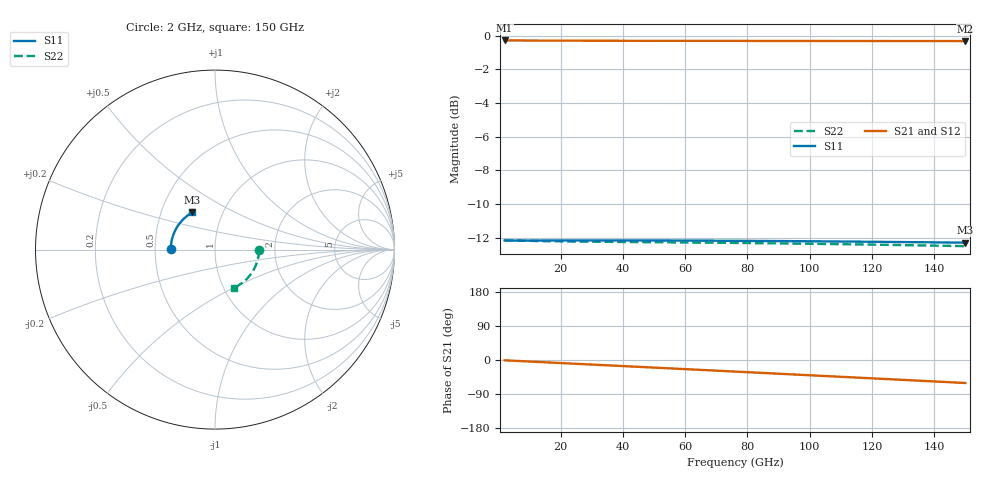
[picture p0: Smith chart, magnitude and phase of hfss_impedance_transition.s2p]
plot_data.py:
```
import numpy as np
import matplotlib.pyplot as plt
import skrf as rf

def S2T(S):
    T = S.copy()
    T[0,0] = -(S[0,0]*S[1,1]-S[0,1]*S[1,0])
    T[0,1] = S[0,0]
    T[1,0] = -S[1,1]
    T[1,1] = 1
    
    return T/S[1,0]

def T2S(T):
    S = T.copy()
    S[0,0] = T[0,1]
    S[0,1] = T[0,0]*T[1,1]-T[0,1]*T[1,0]
    S[1,0] = 1
    S[1,1] = -T[1,0]
    
    return S/T[1,1]

if __name__=='__main__':
    
    ntwk = rf.Network('hfss_impedance_transition.s2p')
    gamma1 = ntwk.gamma[:,0]
    gamma2 = ntwk.gamma[:,1]
    f = ntwk.frequency.f
    
    T     = np.array([S2T(x) for x in ntwk.s])
    Tnorm = np.array([x/x[-1,-1] for x in T])
    
    g11 = np.array([x[0,0] for x in Tnorm])
    g21 = np.array([x[1,0] for x in Tnorm])
    g12 = np.array([x[0,1] for x in Tnorm])
    
    d1  = 0.103e-3
    d2  = 0.103e-3
    
    exp1 = np.exp(2*gamma1*d1)
    exp2 = np.exp(2*gamma2*d2)
    g11_ = g11*exp1*exp2
    g21_ = g21*exp2
    g12_ = g12*exp1

    # model 1: Y-Z
    G1 = ( (g11_ + g21_ + g12_ + 1)**2 - 4*(g11_ - g21_*g12_) )/( (g11_ + g21_ + g12_ + 1)**2 + 4*(g11_ - g21_*g12_) )
    # model 2: Z-Y
    G2 = -( (g11_ - g21_ - g12_ + 1)**2 - 4*(g11_ - g21_*g12_) )/( (g11_ - g21_ - g12_ + 1)**2 + 4*(g11_ - g21_*g12_) )
    # model 3: symmetric
    G3 = ( g21_ + g12_ )/( g11_ + 1 )
    
    # offset error versions
    exp1 = np.exp(2*gamma1*(d1+0.0e-3))
    exp2 = np.exp(2*gamma2*(d2+0.03e-3))
    g11_ = g11*exp1*exp2
    g21_ = g21*exp2
    g12_ = g12*exp1
    
    # model 1: Y-Z
    G1_off = ( (g11_ + g21_ + g12_ + 1)**2 - 4*(g11_ - g21_*g12_) )/( (g11_ + g21_ + g12_ + 1)**2 + 4*(g11_ - g21_*g12_) )
    # model 2: Z-Y
    G2_off = -( (g11_ - g21_ - g12_ + 1)**2 - 4*(g11_ - g21_*g12_) )/( (g11_ - g21_ - g12_ + 1)**2 + 4*(g11_ - g21_*g12_) )
    # model 3: symmetric
    G3_off = ( g21_ + g12_ )/( g11_ + 1 )
    '''
    fig, ax = plt.subplots(1,1, figsize=(5.5, 5.5/1.5))
    fig.set_dpi(600)
    fig.tight_layout(pad=1.2)
    '''
    # GG = (ntwk.z0[:,1] - ntwk.z0[:,0])/(ntwk.z0[:,1] + ntwk.z0[:,0])
    
    fig, axs = plt.subplots(1,2, figsize=(5.5, 5.5/2))
    fig.set_dpi(600)
    fig.tight_layout(pad=1.5)
    ax = axs[0]
    ax.plot(f*1e-9, abs((g21_+g12_)/2), '>-', lw=2, label='Without Modeling', markevery=10, markersize=10)
    ax.plot(f*1e-9, abs(G1), 'v-', lw=2, label='Model 1', markevery=10, markersize=10)
    ax.plot(f*1e-9, abs(G2), '>-', lw=2, label='Model 2', markevery=10, markersize=10)
    ax.plot(f*1e-9, abs(G3), '<-', lw=2, label='Model 3', markevery=10, markersize=10)
    ax.plot(f*1e-9, abs(G1_off), 'h--', lw=2, markevery=10, markersize=8,
             label='Model 1 with +30um offset')
    ax.plot(f*1e-9, abs(G2_off), 'o--', lw=2, markevery=10, markersize=8,
             label='Model 2 with +30um offset')
    ax.plot(f*1e-9, abs(G3_off), 'X--', lw=2, markevery=10, markersize=8,
             label='Model 3 with +30um offset')
    ax.set_xlabel('Frequency (GHz)')
    ax.set_ylabel('Reflection (mag)')
    ax.set_yticks(np.arange(0.18,0.31,0.02))
    ax.set_ylim([0.2, 0.26])
    ax.set_xlim([0, 150])
    ax.set_xticks(np.arange(6)*30)
    
    ax = axs[1]
    ax.plot(f*1e-9, np.unwrap(np.angle((g21_+g12_)/2) + 2*np.pi)/np.pi, '>-', lw=2, label='Without Modeling', markevery=10, markersize=10)
    ax.plot(f*1e-9, np.unwrap(np.angle(G1))/np.pi, 'v-', lw=2, label='Model 1', markevery=10, markersize=10)
    ax.plot(f*1e-9, np.unwrap(np.angle(G2))/np.pi, '>-', lw=2, label='Model 2', markevery=10, markersize=10)
    ax.plot(f*1e-9, np.unwrap(np.angle(G3))/np.pi, '<-', lw=2, label='Model 3', markevery=10, markersize=10)
    ax.plot(f*1e-9, np.unwrap(np.angle(G1_off))/np.pi, 'h--', lw=2, markevery=10, markersize=8,
             label='Model 1 w/ +30um offset')
    ax.plot(f*1e-9, np.unwrap(np.angle(G2_off))/np.pi, 'o--', lw=2, markevery=10, markersize=8,
             label='Model 2 w/ +30um offset')
    ax.plot(f*1e-9, np.unwrap(np.angle(G3_off))/np.pi, 'X--', lw=2, markevery=10, markersize=8,
             label='Model 3 w/ +30um offset')
    
    ax.set_xlabel('Frequency (GHz)')
    ax.set_ylabel(r'Reflection (phase $\times \pi$)')
    ax.set_yticks(np.arange(0.1,2,0.05))
    ax.set_ylim([0.95, 1.1])
    ax.set_xlim([0, 150])
    ax.set_xticks(np.arange(6)*30)
    
    # plt.legend(ncol=2, loc='upper right')
    handles, labels = ax.get_legend_handles_labels()
    fig.legend(handles, labels, bbox_to_anchor=(0.5, 0.96), 
                   loc='lower center', ncol=3, borderaxespad=0, 
                   columnspacing=1.5, fontsize=8)
    fig.savefig('simulated_transition.pdf', format='pdf', dpi=300, 
                    bbox_inches='tight', pad_inches = 0)
        
    plt.show()

# EOF
```
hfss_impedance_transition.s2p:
! Touchstone file exported from HFSS 2021.1.0
!  File:  C:/Users/Ziad/Desktop/TMTT HFSS/mTRL_verification.aedt
!  Generated:  1:50:01 AM  Aug 09, 2022
!  Design:  impedance_transition
!  Project:  mTRL_verification
!  Setup:  Setup1
!  Solution:  Sweep
! Variables:
!  $e_r = 1.73929
!  $er = 3.2
!  $tand = 0.002
!  match_width = 0.094mm
!  port_height = 0.946mm
!  sig_length = 0.1mm
!  step_width = 0.2086mm
!  sub_length = 0.2mm
!  sub_thickness = 0.0473mm
!  sub_width = 4mm
!  trace_thickness = 0.0126mm
!Data is not renormalized
# GHz S MA
! Terminal data exported
! Port[1] = 1
! Port[2] = 2
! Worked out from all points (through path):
!   75 points, 2 GHz to 150 GHz, reference per port
!   highest |S21| = -0.27 dB at 2 GHz (marker M1); lowest = -0.3 dB at 150 GHz (marker M2)
!   group delay of S21, straight-line fit = 1.12 ps
!   lowest |S11| = -12.3 dB at 150 GHz (marker M3), VSWR 1.64
!   |S11| at or under -10 dB: start of sweep to end of sweep
!   |S22| runs from -12.5 to -12.2 dB; largest |S21 - S12| = 2e-15
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2  0.2465 179.1  0.9689 -0.8  0.9689 -0.8  0.2466 -0.9
! Gamma 1.04593504210781 66.6700791383097 1.0407309288705 69.19133680759
! Port Impedance 54.027272504092 -0.6926065302966 32.4537496486569 -0.405757419989088
10  0.2462 176.2  0.9685 -4.0  0.9685 -4.0  0.2458 -4.4
20  0.2464 172.3  0.9677 -8.0  0.9677 -8.0  0.2449 -8.5
38  0.2465 165.3  0.9669 -15.2  0.9669 -15.2  0.2439 -15.9
56  0.2463 158.3  0.9664 -22.5  0.9664 -22.5  0.2432 -23.4
66  0.2461 154.4  0.9662 -26.5  0.9662 -26.5  0.2427 -27.5
76  0.2458 150.5  0.966 -30.5  0.966 -30.5  0.2423 -31.7
94  0.2452 143.5  0.9657 -37.8  0.9657 -37.8  0.2413 -39.3
112  0.2445 136.4  0.9654 -45.1  0.9654 -45.1  0.24 -47.0
132  0.2436 128.6  0.965 -53.3  0.965 -53.3  0.2385 -55.5
150  0.2427 121.4  0.9647 -60.7  0.9647 -60.7  0.2369 -63.2
